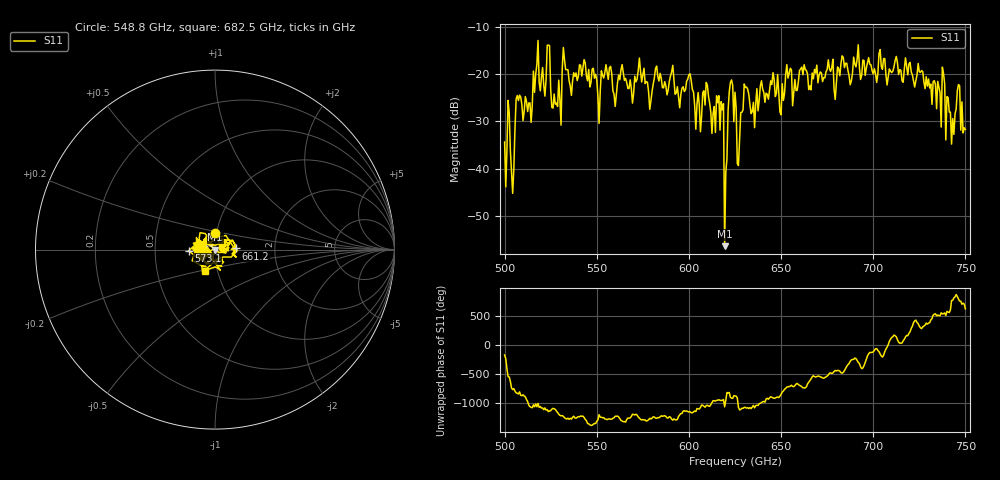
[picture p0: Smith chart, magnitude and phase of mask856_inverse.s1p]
!Created with skrf (http://scikit-rf.org).
# GHz S MA R 50.0
!freq magS11 angS11
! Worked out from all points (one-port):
!   401 points, 500 GHz to 750 GHz, reference 50 ohm
!   lowest |S11| = -56.4 dB at 619.4 GHz (marker M1), VSWR 1.00, Z = 50.1 + j0.0413 ohm
!   |S11| at or under -10 dB: start of sweep to end of sweep
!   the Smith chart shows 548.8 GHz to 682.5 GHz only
!   S11 on the Smith chart (normalised r, x): 548.8 GHz: 0.98, +0.18; 573.1 GHz: 0.74, -0.01; 661.2 GHz: 1.27, +0.02; 682.5 GHz: 0.87, -0.21
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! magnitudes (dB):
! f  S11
! 500 GHz  -34.4
! 504.4 GHz  -45.2
! 507.5 GHz  -25.6
! 513.8 GHz  -26.1
! 516.9 GHz  -20.0
! 523.8 GHz  -13.9
! 526.9 GHz  -24.2
! 531.2 GHz  -19.0
! 548.8 GHz  -20.9
! 562.5 GHz  -21.2
! 573.1 GHz  -16.6
! 593.8 GHz  -22.7
! 617.5 GHz  -25.8
! 619.4 GHz  -56.4
! 620.6 GHz  -38.0
! 622.5 GHz  -21.8
! 625 GHz  -23.9
! 627.5 GHz  -33.8
! 631.2 GHz  -22.7
! 634.4 GHz  -27.9
! 656.2 GHz  -26.7
! 661.2 GHz  -18.5
! 682.5 GHz  -17.8
! 687.5 GHz  -22.3
! 718.8 GHz  -20.2
! 742.5 GHz  -34.8
! 746.9 GHz  -22.5
! 750 GHz  -31.7
